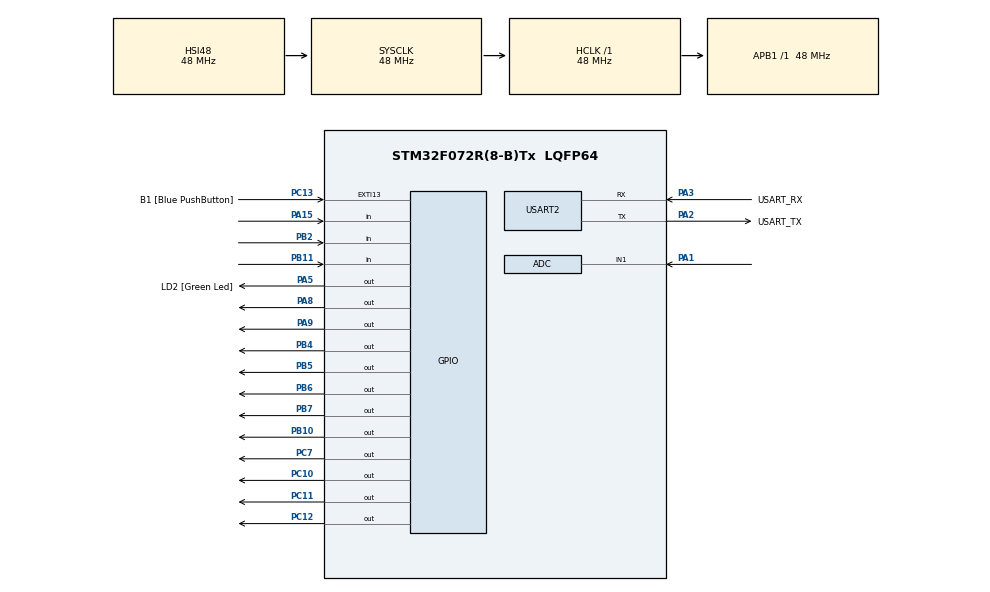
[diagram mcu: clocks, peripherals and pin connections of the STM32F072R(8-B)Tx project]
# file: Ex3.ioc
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Mcu.Family=STM32F0
Mcu.Name=STM32F072R(8-B)Tx
Mcu.Package=LQFP64
PA1.Mode=IN1
PA1.Signal=ADC_IN1
PA13.GPIO_Label=TMS
PA13.Mode=Serial_Wire
PA13.Signal=SYS_SWDIO
PA14.GPIO_Label=TCK
PA14.Mode=Serial_Wire
PA14.Signal=SYS_SWCLK
PA15.GPIO_PuPd=GPIO_PULLUP
PA15.Signal=GPIO_Input
PA2.GPIO_Label=USART_TX
PA2.GPIO_Mode=GPIO_MODE_AF_PP
PA2.GPIO_PuPd=GPIO_NOPULL
PA2.GPIO_Speed=GPIO_SPEED_FREQ_LOW
PA2.Mode=Asynchronous
PA2.Signal=USART2_TX
PA3.GPIO_Label=USART_RX
PA3.GPIO_Mode=GPIO_MODE_AF_PP
PA3.GPIO_PuPd=GPIO_NOPULL
PA3.GPIO_Speed=GPIO_SPEED_FREQ_LOW
PA3.Mode=Asynchronous
PA3.Signal=USART2_RX
PA5.GPIO_Label=LD2 [Green Led]
PA5.GPIO_Mode=GPIO_MODE_OUTPUT_PP
PA5.GPIO_PuPd=GPIO_NOPULL
PA5.GPIO_Speed=GPIO_SPEED_FREQ_LOW
PA5.Signal=GPIO_Output
PA8.Signal=GPIO_Output
PA9.Signal=GPIO_Output
PB10.Signal=GPIO_Output
PB11.GPIO_PuPd=GPIO_PULLUP
PB11.Signal=GPIO_Input
PB2.GPIO_PuPd=GPIO_PULLUP
PB2.Signal=GPIO_Input
PB4.Signal=GPIO_Output
PB5.Signal=GPIO_Output
PB6.Signal=GPIO_Output
PB7.GPIO_ModeDefaultOutputPP=GPIO_MODE_OUTPUT_OD
PB7.Signal=GPIO_Output
PC10.GPIO_ModeDefaultOutputPP=GPIO_MODE_OUTPUT_OD
PC10.Signal=GPIO_Output
PC11.GPIO_ModeDefaultOutputPP=GPIO_MODE_OUTPUT_OD
PC11.Signal=GPIO_Output
PC12.GPIO_ModeDefaultOutputPP=GPIO_MODE_OUTPUT_OD
PC12.Signal=GPIO_Output
PC13.GPIO_Label=B1 [Blue PushButton]
PC13.GPIO_ModeDefaultEXTI=GPIO_MODE_IT_FALLING
PC13.Signal=GPXTI13
PC14-OSC32_IN.Mode=LSE-External-Oscillator
PC14-OSC32_IN.Signal=RCC_OSC32_IN
PC15-OSC32_OUT.Mode=LSE-External-Oscillator
PC15-OSC32_OUT.Signal=RCC_OSC32_OUT
PC7.GPIO_ModeDefaultOutputPP=GPIO_MODE_OUTPUT_PP
PC7.Signal=GPIO_Output
PF0-OSC_IN.Mode=HSE-External-Clock-Source
PF0-OSC_IN.Signal=RCC_OSC_IN
PF1-OSC_OUT.Signal=RCC_OSC_OUT
ProjectManager.HeapSize=0x200
ProjectManager.StackSize=0x400
ProjectManager.TargetToolchain=MDK-ARM V5
RCC.AHBFreq_Value=48000000
RCC.APB1Freq_Value=48000000
RCC.APB1TimFreq_Value=48000000
RCC.FLatency-AdvancedSettings=FLASH_LATENCY_1
RCC.HCLKFreq_Value=48000000
RCC.PLLDivider=RCC_PREDIV_DIV2
RCC.PLLMUL=RCC_PLL_MUL12
RCC.PREFETCH_ENABLE-AdvancedSettings=1
RCC.SYSCLKFreq_VALUE=48000000
RCC.SYSCLKSource=RCC_SYSCLKSOURCE_HSI48
USART2.VirtualMode=VM_ASYNC
USART2.VirtualMode-Asynchronous=VM_ASYNC
board=NUCLEO-F072RB

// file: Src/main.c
/* USER CODE BEGIN Header */
/* USER CODE END Header */

#include "main.h"

/* USER CODE BEGIN Includes */
#include "stdio.h"
#include "string.h"
/* USER CODE END Includes */

ADC_HandleTypeDef hadc;

UART_HandleTypeDef huart2;

void SystemClock_Config(void);
static void MX_GPIO_Init(void);
static void MX_USART2_UART_Init(void);
static void MX_ADC_Init(void);

/* USER CODE BEGIN 0 */

#define pino_rs_0   GPIOA->BSRR = 1<<(16+9)
#define pino_rs_1	GPIOA->BSRR = 1<<9
#define pino_e_0	GPIOC->BSRR = 1<<(16+7)
#define pino_e_1	GPIOC->BSRR = 1<<7

#define cursor_on 	 0x0c
#define cursor_off   0x0e
#define cursor_blink 0x0f

#define liga_led GPIOA->BSRR = (1 << 5);
#define desliga_led GPIOA->BRR = (1 << 5);

void uDelay(void)
{
  int x=10;

  while(x) x--;
}

void delayUs(int tempo)
{
  while(tempo--) uDelay();
}
void lcd_send4bits(unsigned char dat)
{
	if((dat & (1 << 0)) == 0)
		GPIOB->BRR = (1 << 5);
	else
		GPIOB->BSRR = (1 << 5);

	if((dat & (1 << 1)) == 0)
		GPIOB->BRR = (1 << 4);
	else
		GPIOB->BSRR = (1 << 4);

	if((dat & (1 << 2)) == 0)
		GPIOB->BRR = (1 << 10);
	else
		GPIOB->BSRR = (1 << 10);

	if((dat & (1 << 3)) == 0)
		GPIOA->BRR = (1 << 8);
	else
		GPIOA->BSRR = (1 << 8);
}

void lcd_wrcom4(unsigned char com)
{
	lcd_send4bits(com);
	pino_rs_0;
	pino_e_1;
	delayUs(5);
	pino_e_0;
	HAL_Delay(5);
}

void lcd_wrcom(unsigned char com)
{
	lcd_send4bits(com/0x10);
	pino_rs_0;
	pino_e_1;
	delayUs(5);
	pino_e_0;

	lcd_send4bits(com%0x10);
	pino_rs_0;
	pino_e_1;
	delayUs(5);
	pino_e_0;

	HAL_Delay(5);
}

void lcd_wrchar(unsigned char ch)
{
	lcd_send4bits(ch/0x10);
	pino_rs_1;
	pino_e_1;
	delayUs(5);
	pino_e_0;

	lcd_send4bits(ch % 0x10);
	pino_rs_1;
	pino_e_1;
	delayUs(5);
	pino_e_0;

	HAL_Delay(5);
}
void lcd_init(unsigned char cursor)
{
	lcd_wrcom4(3);
  lcd_wrcom4(3);
  lcd_wrcom4(3);
  lcd_wrcom4(2);

  lcd_wrcom(0x28);
  lcd_wrcom(cursor);
  lcd_wrcom(0x06);
  lcd_wrcom(0x01);

}

void lcd_goto(unsigned char x, unsigned char y)
{
  if(x<16)
  {
    if(y==0) lcd_wrcom(0x80+x);
    if(y==1) lcd_wrcom(0xc0+x);
    if(y==2) lcd_wrcom(0x90+x);
    if(y==3) lcd_wrcom(0xd0+x);
  }
}

void lcd_wrstr(char * str)
{
	while((*str))
	{
		lcd_wrchar(*str++);
	}
}

int le_AD(void)
{
	HAL_ADC_Start(&hadc);
	HAL_ADC_PollForConversion(&hadc,50);
	int X = HAL_ADC_GetValue(&hadc);
  HAL_ADC_Stop(&hadc);
	return X;
}
void print_AD(int v)
{
	char str[30];
	sprintf(str,"%04d",v);
	lcd_wrstr(str);
}

char aonde = 'L';
int fputc(int ch, FILE *f)
{
	if(aonde == 'L') lcd_wrchar(ch);
	else if(aonde == 'S') HAL_UART_Transmit(&huart2, (uint8_t *)&ch, 1, 10);
	return ch;
}

/* USER CODE END 0 */

int main(void)
{

  /* MCU Configuration--------------------------------------------------------*/

  /* Reset of all peripherals, Initializes the Flash interface and the Systick. */
  HAL_Init();

  /* Configure the system clock */
  SystemClock_Config();

  /* Initialize all configured peripherals */
  MX_GPIO_Init();
  MX_USART2_UART_Init();
  MX_ADC_Init();
  /* USER CODE BEGIN 2 */
	lcd_init(cursor_blink);
	GPIOB->BSRR = (1 << 6);

  /* USER CODE END 2 */

  /* Infinite loop */
  /* USER CODE BEGIN WHILE */

  while (1)
  {
		lcd_goto(12,0);
		int x = le_AD();
		print_AD(x);

		float v = (3.3*(float)x)/4095;

		float t = v*100;

		lcd_goto(0,1);
		aonde = 'L';
		printf("%2.3f",t);

		HAL_Delay(400);

    /* USER CODE END WHILE */

  }
}

void SystemClock_Config(void)
{
  RCC_OscInitTypeDef RCC_OscInitStruct = {0};
  RCC_ClkInitTypeDef RCC_ClkInitStruct = {0};
  RCC_PeriphCLKInitTypeDef PeriphClkInit = {0};

  /**Initializes the CPU, AHB and APB busses clocks
  */
  RCC_OscInitStruct.OscillatorType = RCC_OSCILLATORTYPE_HSI14|RCC_OSCILLATORTYPE_HSI48;
  RCC_OscInitStruct.HSI48State = RCC_HSI48_ON;
  RCC_OscInitStruct.HSI14State = RCC_HSI14_ON;
  RCC_OscInitStruct.HSI14CalibrationValue = 16;
  RCC_OscInitStruct.PLL.PLLState = RCC_PLL_NONE;
  if (HAL_RCC_OscConfig(&RCC_OscInitStruct) != HAL_OK)
  {
    Error_Handler();
  }
  /**Initializes the CPU, AHB and APB busses clocks
  */
  RCC_ClkInitStruct.ClockType = RCC_CLOCKTYPE_HCLK|RCC_CLOCKTYPE_SYSCLK
                              |RCC_CLOCKTYPE_PCLK1;
  RCC_ClkInitStruct.SYSCLKSource = RCC_SYSCLKSOURCE_HSI48;
  RCC_ClkInitStruct.AHBCLKDivider = RCC_SYSCLK_DIV1;
  RCC_ClkInitStruct.APB1CLKDivider = RCC_HCLK_DIV1;

  if (HAL_RCC_ClockConfig(&RCC_ClkInitStruct, FLASH_LATENCY_1) != HAL_OK)
  {
    Error_Handler();
  }
  PeriphClkInit.PeriphClockSelection = RCC_PERIPHCLK_USART2;
  PeriphClkInit.Usart2ClockSelection = RCC_USART2CLKSOURCE_PCLK1;
  if (HAL_RCCEx_PeriphCLKConfig(&PeriphClkInit) != HAL_OK)
  {
    Error_Handler();
  }
}

static void MX_ADC_Init(void)
{

  ADC_ChannelConfTypeDef sConfig = {0};

  /**Configure the global features of the ADC (Clock, Resolution, Data Alignment and number of conversion)
  */
  hadc.Instance = ADC1;
  hadc.Init.ClockPrescaler = ADC_CLOCK_ASYNC_DIV1;
  hadc.Init.Resolution = ADC_RESOLUTION_12B;
  hadc.Init.DataAlign = ADC_DATAALIGN_RIGHT;
  hadc.Init.ScanConvMode = ADC_SCAN_DIRECTION_FORWARD;
  hadc.Init.EOCSelection = ADC_EOC_SINGLE_CONV;
  hadc.Init.LowPowerAutoWait = DISABLE;
  hadc.Init.LowPowerAutoPowerOff = DISABLE;
  hadc.Init.ContinuousConvMode = DISABLE;
  hadc.Init.DiscontinuousConvMode = DISABLE;
  hadc.Init.ExternalTrigConv = ADC_SOFTWARE_START;
  hadc.Init.ExternalTrigConvEdge = ADC_EXTERNALTRIGCONVEDGE_NONE;
  hadc.Init.DMAContinuousRequests = DISABLE;
  hadc.Init.Overrun = ADC_OVR_DATA_PRESERVED;
  if (HAL_ADC_Init(&hadc) != HAL_OK)
  {
    Error_Handler();
  }
  /**Configure for the selected ADC regular channel to be converted.
  */
  sConfig.Channel = ADC_CHANNEL_1;
  sConfig.Rank = ADC_RANK_CHANNEL_NUMBER;
  sConfig.SamplingTime = ADC_SAMPLETIME_1CYCLE_5;
  if (HAL_ADC_ConfigChannel(&hadc, &sConfig) != HAL_OK)
  {
    Error_Handler();
  }

}

static void MX_USART2_UART_Init(void)
{

  huart2.Instance = USART2;
  huart2.Init.BaudRate = 38400;
  huart2.Init.WordLength = UART_WORDLENGTH_8B;
  huart2.Init.StopBits = UART_STOPBITS_1;
  huart2.Init.Parity = UART_PARITY_NONE;
  huart2.Init.Mode = UART_MODE_TX_RX;
  huart2.Init.HwFlowCtl = UART_HWCONTROL_NONE;
  huart2.Init.OverSampling = UART_OVERSAMPLING_16;
  huart2.Init.OneBitSampling = UART_ONE_BIT_SAMPLE_DISABLE;
  huart2.AdvancedInit.AdvFeatureInit = UART_ADVFEATURE_NO_INIT;
  if (HAL_UART_Init(&huart2) != HAL_OK)
  {
    Error_Handler();
  }

}

static void MX_GPIO_Init(void)
{
  GPIO_InitTypeDef GPIO_InitStruct = {0};

  /* GPIO Ports Clock Enable */
  __HAL_RCC_GPIOC_CLK_ENABLE();
  __HAL_RCC_GPIOF_CLK_ENABLE();
  __HAL_RCC_GPIOA_CLK_ENABLE();
  __HAL_RCC_GPIOB_CLK_ENABLE();

  /*Configure GPIO pin Output Level */
  HAL_GPIO_WritePin(GPIOA, LD2_Pin|GPIO_PIN_8|GPIO_PIN_9, GPIO_PIN_RESET);

  /*Configure GPIO pin Output Level */
  HAL_GPIO_WritePin(GPIOB, GPIO_PIN_10|GPIO_PIN_4|GPIO_PIN_5|GPIO_PIN_6
                          |GPIO_PIN_7, GPIO_PIN_RESET);

  /*Configure GPIO pin Output Level */
  HAL_GPIO_WritePin(GPIOC, GPIO_PIN_7|GPIO_PIN_10|GPIO_PIN_11|GPIO_PIN_12, GPIO_PIN_RESET);

  /*Configure GPIO pin : B1_Pin */
  GPIO_InitStruct.Pin = B1_Pin;
  GPIO_InitStruct.Mode = GPIO_MODE_IT_FALLING;
  GPIO_InitStruct.Pull = GPIO_NOPULL;
  HAL_GPIO_Init(B1_GPIO_Port, &GPIO_InitStruct);

  /*Configure GPIO pins : LD2_Pin PA8 PA9 */
  GPIO_InitStruct.Pin = LD2_Pin|GPIO_PIN_8|GPIO_PIN_9;
  GPIO_InitStruct.Mode = GPIO_MODE_OUTPUT_PP;
  GPIO_InitStruct.Pull = GPIO_NOPULL;
  GPIO_InitStruct.Speed = GPIO_SPEED_FREQ_LOW;
  HAL_GPIO_Init(GPIOA, &GPIO_InitStruct);

  /*Configure GPIO pins : PB2 PB11 */
  GPIO_InitStruct.Pin = GPIO_PIN_2|GPIO_PIN_11;
  GPIO_InitStruct.Mode = GPIO_MODE_INPUT;
  GPIO_InitStruct.Pull = GPIO_PULLUP;
  HAL_GPIO_Init(GPIOB, &GPIO_InitStruct);

  /*Configure GPIO pins : PB10 PB4 PB5 PB6 */
  GPIO_InitStruct.Pin = GPIO_PIN_10|GPIO_PIN_4|GPIO_PIN_5|GPIO_PIN_6;
  GPIO_InitStruct.Mode = GPIO_MODE_OUTPUT_PP;
  GPIO_InitStruct.Pull = GPIO_NOPULL;
  GPIO_InitStruct.Speed = GPIO_SPEED_FREQ_LOW;
  HAL_GPIO_Init(GPIOB, &GPIO_InitStruct);

  /*Configure GPIO pin : PC7 */
  GPIO_InitStruct.Pin = GPIO_PIN_7;
  GPIO_InitStruct.Mode = GPIO_MODE_OUTPUT_PP;
  GPIO_InitStruct.Pull = GPIO_NOPULL;
  GPIO_InitStruct.Speed = GPIO_SPEED_FREQ_LOW;
  HAL_GPIO_Init(GPIOC, &GPIO_InitStruct);

  /*Configure GPIO pin : PA15 */
  GPIO_InitStruct.Pin = GPIO_PIN_15;
  GPIO_InitStruct.Mode = GPIO_MODE_INPUT;
  GPIO_InitStruct.Pull = GPIO_PULLUP;
  HAL_GPIO_Init(GPIOA, &GPIO_InitStruct);

  /*Configure GPIO pins : PC10 PC11 PC12 */
  GPIO_InitStruct.Pin = GPIO_PIN_10|GPIO_PIN_11|GPIO_PIN_12;
  GPIO_InitStruct.Mode = GPIO_MODE_OUTPUT_OD;
  GPIO_InitStruct.Pull = GPIO_NOPULL;
  GPIO_InitStruct.Speed = GPIO_SPEED_FREQ_LOW;
  HAL_GPIO_Init(GPIOC, &GPIO_InitStruct);

  /*Configure GPIO pin : PB7 */
  GPIO_InitStruct.Pin = GPIO_PIN_7;
  GPIO_InitStruct.Mode = GPIO_MODE_OUTPUT_OD;
  GPIO_InitStruct.Pull = GPIO_NOPULL;
  GPIO_InitStruct.Speed = GPIO_SPEED_FREQ_LOW;
  HAL_GPIO_Init(GPIOB, &GPIO_InitStruct);

}

void Error_Handler(void)
{
}

/************************ (C) COPYRIGHT STMicroelectronics *****END OF FILE****/
